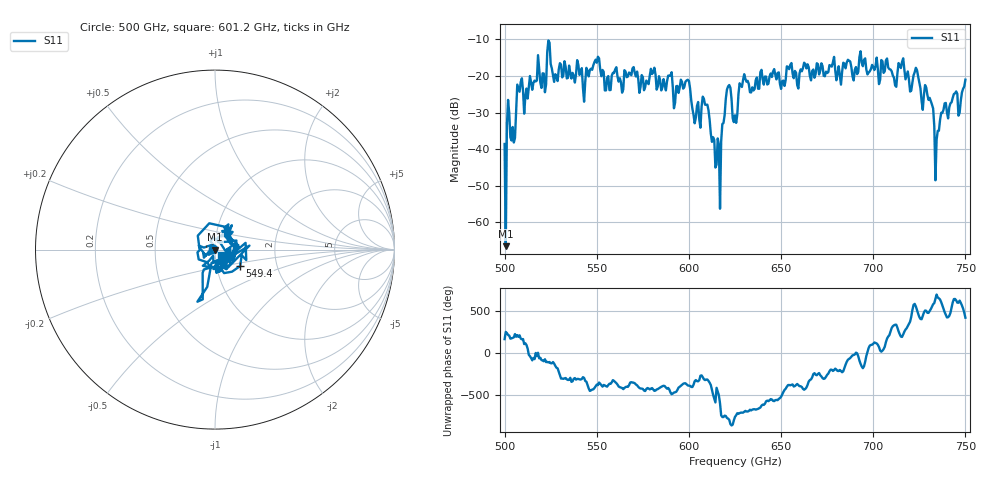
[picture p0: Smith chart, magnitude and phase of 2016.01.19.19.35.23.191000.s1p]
!Created with skrf (http://scikit-rf.org).
# GHz S RI R 50.0
!freq ReS11 ImS11
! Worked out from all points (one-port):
!   401 points, 500 GHz to 750 GHz, reference 50 ohm
!   lowest |S11| = -66.5 dB at 500.6 GHz (marker M1), VSWR 1.00, Z = 50 - j0.0455 ohm
!   |S11| at or under -10 dB: start of sweep to end of sweep
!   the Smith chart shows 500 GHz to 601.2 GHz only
!   S11 on the Smith chart (normalised r, x): 500 GHz: 0.98, +0.00; 549.4 GHz: 1.30, -0.24; 601.2 GHz: 1.07, -0.06
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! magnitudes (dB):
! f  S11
! 500 GHz  -38.6
! 500.6 GHz  -66.5
! 502.5 GHz  -30.1
! 505 GHz  -38.2
! 508.1 GHz  -24.3
! 521.2 GHz  -19.3
! 524.4 GHz  -10.9
! 527.5 GHz  -19.5
! 531.2 GHz  -20.4
! 543.8 GHz  -21.5
! 549.4 GHz  -15.5
! 562.5 GHz  -20.6
! 580.6 GHz  -19.0
! 593.8 GHz  -22.7
! 599.4 GHz  -21.0
! 601.2 GHz  -26.6
! 609.4 GHz  -27.9
! 615.6 GHz  -37.1
! 621.2 GHz  -22.8
! 625 GHz  -30.7
! 628.8 GHz  -23.0
! 656.2 GHz  -19.3
! 687.5 GHz  -16.0
! 718.8 GHz  -18.7
! 729.4 GHz  -25.2
! 734.4 GHz  -37.4
! 738.1 GHz  -29.2
! 750 GHz  -21.0
